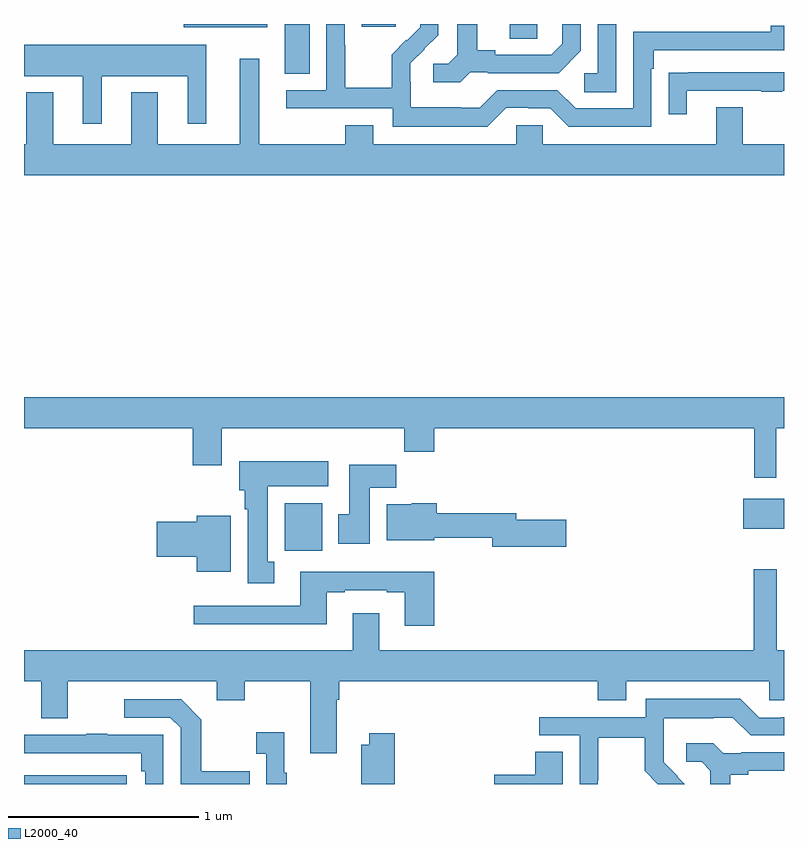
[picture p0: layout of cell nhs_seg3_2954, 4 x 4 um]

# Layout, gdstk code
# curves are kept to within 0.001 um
import gdstk
lib = gdstk.Library(unit=1e-6, precision=1e-09)
def R(c, l, rs):  # rectangles x0, y0, x1, y1
    for r in rs: c.add(gdstk.rectangle(r[:2], r[2:], *l))
def P(c, l, *ps):  # polygons
    for p in ps: c.add(gdstk.Polygon(p, *l))
L2000_40 = (2000, 40)

nhs_seg3_2954 = lib.new_cell('nhs_seg3_2954')
R(nhs_seg3_2954, L2000_40, [(265,676.4,265.54,676.446), (266.373,677.628,266.569,677.878), (268.785,677.744,269,677.902), (266.372,680.137,266.503,680.4), (267.557,680.323,267.702,680.4), (265.842,680.384,266.281,680.4), (266.777,680.385,266.956,680.4)])
P(nhs_seg3_2954, L2000_40, [(267.348,680.145),(267.442,680.145),(267.442,680.142),(267.814,680.142),(267.93,680.258),(267.93,680.4),(267.833,680.4),(267.833,680.295),(267.776,680.238),(267.481,680.238),(267.481,680.261),(267.385,680.261),(267.385,680.4),(267.281,680.4),(267.281,680.237),(267.234,680.19),(267.153,680.19),(267.153,680.093),(267.296,680.093)],
  [(267.537,679.959),(267.653,679.959),(267.653,679.956),(267.771,679.956),(267.867,679.86),(268.302,679.86),(268.302,680.165),(268.315,680.165),(268.315,680.262),(269,680.262),(269,680.392),(268.931,680.392),(268.931,680.358),(268.206,680.358),(268.206,679.956),(267.903,679.956),(267.807,680.052),(267.492,680.052),(267.399,679.959),(267.299,679.959),(267.299,679.963),(267.036,679.963),(267.036,680.097),(267.034,680.097),(267.034,680.194),(267.18,680.342),(267.18,680.4),(267.086,680.4),(267.086,680.384),(267.015,680.313),(267.012,680.316),(266.935,680.239),(266.935,680.065),(266.691,680.065),(266.691,680.288),(266.688,680.288),(266.688,680.4),(266.592,680.4),(266.592,680.052),(266.379,680.052),(266.379,679.956),(266.94,679.956),(266.94,679.859),(267.437,679.859)],
  [(268.116,680.4),(268.02,680.4),(268.02,680.142),(267.948,680.142),(267.948,680.041),(268.116,680.041)],
  [(265.408,680.126),(265.862,680.126),(265.862,679.875),(265.96,679.875),(265.96,680.29),(265,680.29),(265,680.126),(265.31,680.126),(265.31,679.875),(265.408,679.875)],
  [(269,679.768),(268.783,679.768),(268.783,679.963),(268.643,679.963),(268.643,679.768),(267.729,679.768),(267.729,679.866),(267.591,679.866),(267.591,679.768),(266.839,679.768),(266.839,679.867),(266.692,679.867),(266.692,679.768),(266.239,679.768),(266.239,680.218),(266.135,680.218),(266.135,679.768),(265.705,679.768),(265.705,680.041),(265.565,680.041),(265.565,679.768),(265.153,679.768),(265.153,680.041),(265.013,680.041),(265.013,679.768),(265,679.768),(265,679.604),(269,679.604)],
  [(268.489,680.049),(268.879,680.049),(268.879,680.044),(268.991,680.044),(268.991,680.049),(269,680.049),(269,680.145),(268.495,680.145),(268.495,680.144),(268.393,680.144),(268.393,679.926),(268.489,679.926)],
  [(268.959,678.272),(269,678.272),(269,678.436),(265,678.436),(265,678.272),(265.889,678.272),(265.889,678.078),(266.041,678.078),(266.041,678.272),(267.001,678.272),(267.001,678.148),(267.158,678.148),(267.158,678.272),(268.843,678.272),(268.843,678.012),(268.959,678.012)],
  [(266.317,677.569),(266.284,677.569),(266.284,677.966),(266.602,677.966),(266.602,678.1),(266.132,678.1),(266.132,677.946),(266.162,677.946),(266.162,677.846),(266.177,677.846),(266.177,677.457),(266.317,677.457)],
  [(266.821,677.96),(266.96,677.96),(266.96,678.079),(266.711,678.079),(266.711,677.82),(266.654,677.82),(266.654,677.664),(266.821,677.664)],
  [(267.853,677.79),(267.592,677.79),(267.592,677.824),(267.173,677.824),(267.173,677.878),(267.042,677.878),(267.042,677.872),(266.909,677.872),(266.909,677.684),(267.16,677.684),(267.16,677.695),(267.464,677.695),(267.464,677.648),(267.853,677.648)],
  [(266.089,677.812),(265.91,677.812),(265.91,677.78),(265.698,677.78),(265.698,677.597),(265.91,677.597),(265.91,677.516),(266.089,677.516)],
  [(266.647,676.844),(266.66,676.844),(266.66,676.94),(268.019,676.94),(268.019,676.841),(268.171,676.841),(268.171,676.94),(268.923,676.94),(268.923,676.842),(269,676.842),(269,677.104),(268.963,677.104),(268.963,677.53),(268.841,677.53),(268.841,677.104),(266.869,677.104),(266.869,677.299),(266.729,677.299),(266.729,677.104),(265,677.104),(265,676.94),(265.091,676.94),(265.091,676.746),(265.231,676.746),(265.231,676.94),(266.015,676.94),(266.015,676.841),(266.163,676.841),(266.163,676.94),(266.507,676.94),(266.507,676.563),(266.647,676.563)],
  [(267.158,677.518),(266.453,677.518),(266.453,677.337),(265.893,677.337),(265.893,677.24),(266.593,677.24),(266.593,677.409),(266.689,677.409),(266.689,677.421),(266.909,677.421),(266.909,677.409),(267.005,677.409),(267.005,677.232),(267.158,677.232)],
  [(268.02,676.42),(268.023,676.42),(268.023,676.644),(268.267,676.644),(268.267,676.469),(268.336,676.4),(268.478,676.4),(268.366,676.514),(268.366,676.611),(268.368,676.611),(268.368,676.745),(268.631,676.745),(268.631,676.749),(268.731,676.749),(268.824,676.656),(269,676.656),(269,676.752),(268.985,676.752),(268.985,676.749),(268.869,676.749),(268.769,676.849),(268.272,676.849),(268.272,676.752),(267.711,676.752),(267.711,676.656),(267.924,676.656),(267.924,676.4),(268.02,676.4)],
  [(266.189,676.467),(265.933,676.467),(265.933,676.739),(265.827,676.845),(265.527,676.845),(265.527,676.749),(265.77,676.749),(265.824,676.695),(265.824,676.4),(266.189,676.4)],
  [(266.383,676.459),(266.371,676.459),(266.371,676.672),(266.223,676.672),(266.223,676.559),(266.274,676.559),(266.274,676.4),(266.383,676.4)],
  [(266.951,676.666),(266.816,676.666),(266.816,676.606),(266.776,676.606),(266.776,676.4),(266.951,676.4)],
  [(265.734,676.659),(265.439,676.659),(265.439,676.664),(265.327,676.664),(265.327,676.659),(265,676.659),(265,676.563),(265.618,676.563),(265.618,676.466),(265.638,676.466),(265.638,676.4),(265.734,676.4)],
  [(268.717,676.448),(268.813,676.448),(268.813,676.47),(269,676.47),(269,676.566),(268.774,676.566),(268.774,676.563),(268.68,676.563),(268.628,676.615),(268.485,676.615),(268.485,676.518),(268.566,676.518),(268.613,676.471),(268.613,676.4),(268.717,676.4)],
  [(267.835,676.571),(267.692,676.571),(267.692,676.448),(267.474,676.448),(267.474,676.4),(267.835,676.4)])

lib.write_gds('nhs_seg3_2954.gds')
